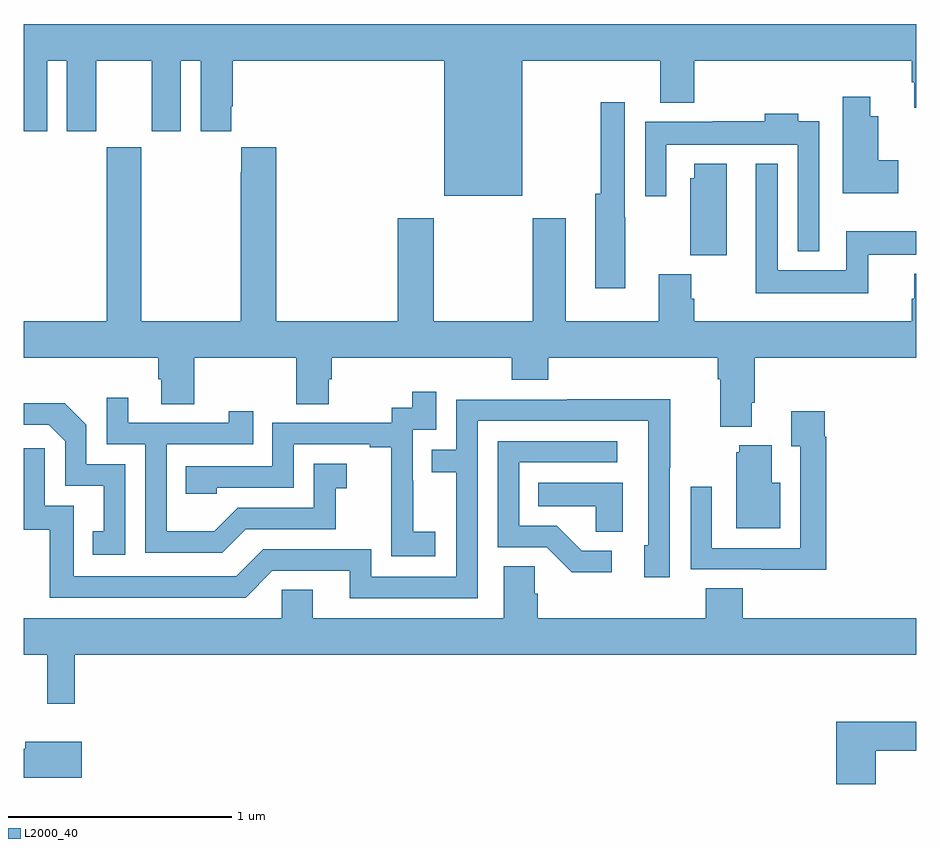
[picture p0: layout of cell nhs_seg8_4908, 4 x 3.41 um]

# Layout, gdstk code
import gdstk
lib = gdstk.Library(unit=1e-6, precision=1e-09)
def P(c, l, *ps):  # polygons
    for p in ps: c.add(gdstk.Polygon(p, *l))
L2000_40 = (2000, 40)

nhs_seg8_4908 = lib.new_cell('nhs_seg8_4908')
P(nhs_seg8_4908, L2000_40, [(409.234,1139.144),(409.853,1139.144),(409.853,1138.955),(410.006,1138.955),(410.006,1139.144),(410.981,1139.144),(410.981,1139.046),(410.993,1139.046),(410.993,1138.932),(411,1138.932),(411,1139.308),(407,1139.308),(407,1138.827),(407.104,1138.827),(407.104,1139.144),(407.192,1139.144),(407.192,1138.827),(407.323,1138.827),(407.323,1139.144),(407.573,1139.144),(407.573,1138.827),(407.704,1138.827),(407.704,1139.144),(407.792,1139.144),(407.792,1138.827),(407.929,1138.827),(407.929,1138.939),(407.936,1138.939),(407.936,1139.144),(408.884,1139.144),(408.884,1138.538),(409.234,1138.538)],
  [(410.92,1138.698),(410.83,1138.698),(410.83,1138.894),(410.794,1138.894),(410.794,1138.981),(410.672,1138.981),(410.672,1138.55),(410.92,1138.55)],
  [(409.696,1138.442),(409.695,1138.442),(409.695,1138.957),(409.587,1138.957),(409.587,1138.546),(409.562,1138.546),(409.562,1138.122),(409.696,1138.122)],
  [(410.565,1138.873),(410.473,1138.873),(410.473,1138.906),(410.321,1138.906),(410.321,1138.873),(410.089,1138.873),(410.089,1138.87),(409.785,1138.87),(409.785,1138.536),(409.881,1138.536),(409.881,1138.766),(410.469,1138.766),(410.469,1138.289),(410.565,1138.289)],
  [(407.371,1138.756),(407.371,1137.976),(407,1137.976),(407,1137.812),(407.603,1137.812),(407.603,1137.714),(407.615,1137.714),(407.615,1137.604),(407.763,1137.604),(407.763,1137.812),(408.22,1137.812),(408.22,1137.604),(408.367,1137.604),(408.367,1137.714),(408.38,1137.714),(408.38,1137.812),(409.187,1137.812),(409.187,1137.713),(409.352,1137.713),(409.352,1137.812),(410.111,1137.812),(410.111,1137.716),(410.123,1137.716),(410.123,1137.503),(410.263,1137.503),(410.263,1137.61),(410.276,1137.61),(410.276,1137.812),(411,1137.812),(411,1138.189),(410.993,1138.189),(410.993,1138.077),(410.981,1138.077),(410.981,1137.976),(410.006,1137.976),(410.006,1138.076),(409.993,1138.076),(409.993,1138.185),(409.846,1138.185),(409.846,1137.976),(409.429,1137.976),(409.429,1138.438),(409.282,1138.438),(409.282,1137.976),(408.837,1137.976),(408.837,1138.438),(408.677,1138.438),(408.677,1137.976),(408.131,1137.976),(408.131,1138.756),(407.975,1138.756),(407.975,1138.643),(407.971,1138.643),(407.971,1137.976),(407.526,1137.976),(407.526,1138.756)],
  [(410.152,1138.681),(410.006,1138.681),(410.006,1138.617),(409.988,1138.617),(409.988,1138.27),(410.152,1138.27)],
  [(410.786,1138.274),(411,1138.274),(411,1138.378),(410.688,1138.378),(410.688,1138.204),(410.379,1138.204),(410.379,1138.681),(410.282,1138.681),(410.282,1138.1),(410.786,1138.1)],
  [(408.844,1137.031),(408.746,1137.031),(408.746,1137.26),(408.744,1137.26),(408.744,1137.489),(408.849,1137.489),(408.849,1137.658),(408.741,1137.658),(408.741,1137.588),(408.648,1137.588),(408.648,1137.519),(408.114,1137.519),(408.114,1137.324),(407.725,1137.324),(407.725,1137.201),(407.865,1137.201),(407.865,1137.228),(408.21,1137.228),(408.21,1137.423),(408.551,1137.423),(408.551,1137.411),(408.647,1137.411),(408.647,1137.127),(408.646,1137.127),(408.646,1136.921),(408.844,1136.921)],
  [(407.995,1137.042),(408.399,1137.042),(408.399,1137.227),(408.448,1137.227),(408.448,1137.337),(408.3,1137.337),(408.3,1137.138),(407.958,1137.138),(407.854,1137.034),(407.64,1137.034),(407.64,1137.423),(408.029,1137.423),(408.029,1137.571),(407.918,1137.571),(407.918,1137.519),(407.467,1137.519),(407.467,1137.631),(407.37,1137.631),(407.37,1137.423),(407.544,1137.423),(407.544,1136.937),(407.89,1136.937)],
  [(409.035,1137.528),(409.8,1137.528),(409.8,1136.97),(409.781,1136.97),(409.781,1136.826),(409.896,1136.826),(409.896,1137.319),(409.899,1137.319),(409.899,1137.626),(409.435,1137.626),(409.435,1137.624),(408.939,1137.624),(408.939,1137.399),(408.829,1137.399),(408.829,1137.298),(408.939,1137.298),(408.939,1136.829),(408.558,1136.829),(408.558,1136.952),(408.072,1136.952),(407.952,1136.832),(407.223,1136.832),(407.223,1137.147),(407.094,1137.147),(407.094,1137.406),(407,1137.406),(407,1137.039),(407.115,1137.039),(407.115,1136.736),(407.994,1136.736),(408.114,1136.856),(408.461,1136.856),(408.461,1136.733),(409.035,1136.733)],
  [(407.454,1137.333),(407.28,1137.333),(407.28,1137.51),(407.182,1137.608),(407,1137.608),(407,1137.51),(407.112,1137.51),(407.184,1137.438),(407.184,1137.237),(407.357,1137.237),(407.357,1137.033),(407.308,1137.033),(407.308,1136.928),(407.454,1136.928)],
  [(410.597,1137.458),(410.59,1137.458),(410.59,1137.571),(410.441,1137.571),(410.441,1137.415),(410.481,1137.415),(410.481,1136.958),(410.085,1136.958),(410.085,1137.232),(409.989,1137.232),(409.989,1136.862),(410.305,1136.862),(410.305,1136.861),(410.597,1136.861)],
  [(409.636,1136.946),(409.501,1136.946),(409.39,1137.057),(409.221,1137.057),(409.221,1137.342),(409.66,1137.342),(409.66,1137.438),(409.125,1137.438),(409.125,1136.961),(409.344,1136.961),(409.457,1136.849),(409.636,1136.849)],
  [(410.392,1137.25),(410.353,1137.25),(410.353,1137.418),(410.207,1137.418),(410.207,1137.387),(410.195,1137.387),(410.195,1137.047),(410.392,1137.047)],
  [(409.684,1137.25),(409.306,1137.25),(409.306,1137.146),(409.563,1137.146),(409.563,1137.031),(409.684,1137.031)],
  [(407.227,1136.48),(411,1136.48),(411,1136.644),(410.222,1136.644),(410.222,1136.777),(410.057,1136.777),(410.057,1136.644),(409.304,1136.644),(409.304,1136.753),(409.29,1136.753),(409.29,1136.876),(409.151,1136.876),(409.151,1136.644),(408.295,1136.644),(408.295,1136.771),(408.156,1136.771),(408.156,1136.644),(407,1136.644),(407,1136.48),(407.105,1136.48),(407.105,1136.259),(407.227,1136.259)],
  [(410.82,1136.05),(411,1136.05),(411,1136.179),(410.642,1136.179),(410.642,1135.9),(410.82,1135.9)],
  [(407.26,1136.089),(407.006,1136.089),(407.006,1136.057),(407,1136.057),(407,1135.928),(407.26,1135.928)])

lib.write_gds('nhs_seg8_4908.gds')
